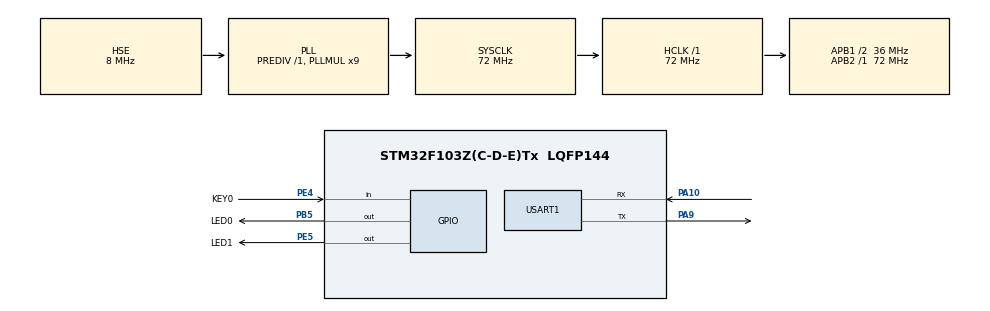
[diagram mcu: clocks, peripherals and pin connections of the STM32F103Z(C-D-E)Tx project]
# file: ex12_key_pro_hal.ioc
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Mcu.Family=STM32F1
Mcu.Name=STM32F103Z(C-D-E)Tx
Mcu.Package=LQFP144
NVIC.PriorityGroup=NVIC_PRIORITYGROUP_4
OSC_IN.Mode=HSE-External-Oscillator
OSC_IN.Signal=RCC_OSC_IN
OSC_OUT.Mode=HSE-External-Oscillator
OSC_OUT.Signal=RCC_OSC_OUT
PA10.Mode=Asynchronous
PA10.Signal=USART1_RX
PA13.Mode=Serial_Wire
PA13.Signal=SYS_JTMS-SWDIO
PA14.Mode=Serial_Wire
PA14.Signal=SYS_JTCK-SWCLK
PA9.Mode=Asynchronous
PA9.Signal=USART1_TX
PB5.GPIO_Label=LED0
PB5.GPIO_Speed=GPIO_SPEED_FREQ_HIGH
PB5.PinState=GPIO_PIN_SET
PB5.Signal=GPIO_Output
PC14-OSC32_IN.Mode=LSE-External-Oscillator
PC14-OSC32_IN.Signal=RCC_OSC32_IN
PC15-OSC32_OUT.Mode=LSE-External-Oscillator
PC15-OSC32_OUT.Signal=RCC_OSC32_OUT
PE4.GPIO_Label=KEY0
PE4.GPIO_PuPd=GPIO_PULLUP
PE4.Signal=GPIO_Input
PE5.GPIO_Label=LED1
PE5.GPIO_Speed=GPIO_SPEED_FREQ_HIGH
PE5.PinState=GPIO_PIN_SET
PE5.Signal=GPIO_Output
ProjectManager.HeapSize=0x200
ProjectManager.StackSize=0x400
ProjectManager.TargetToolchain=MDK-ARM V5.32
RCC.AHBFreq_Value=72000000
RCC.APB1CLKDivider=RCC_HCLK_DIV2
RCC.APB1Freq_Value=36000000
RCC.APB1TimFreq_Value=72000000
RCC.APB2Freq_Value=72000000
RCC.APB2TimFreq_Value=72000000
RCC.HCLKFreq_Value=72000000
RCC.PLLMUL=RCC_PLL_MUL9
RCC.PLLSourceVirtual=RCC_PLLSOURCE_HSE
RCC.SYSCLKFreq_VALUE=72000000
RCC.SYSCLKSource=RCC_SYSCLKSOURCE_PLLCLK
RCC.USBFreq_Value=72000000
USART1.VirtualMode=VM_ASYNC
board=custom

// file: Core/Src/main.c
/* USER CODE BEGIN Header */
/**
  ******************************************************************************
  * @file           : main.c
  * @brief          : Main program body
  ******************************************************************************
  * @attention
  *
  * Copyright (c) 2026 STMicroelectronics.
  * All rights reserved.
  *
  * This software is licensed under terms that can be found in the LICENSE file
  * in the root directory of this software component.
  * If no LICENSE file comes with this software, it is provided AS-IS.
  *
  ******************************************************************************
  */
/* USER CODE END Header */
#include "main.h"
#include "usart.h"
#include "gpio.h"

void SystemClock_Config(void);

/* USER CODE BEGIN 0 */
typedef enum
{
  S_IDLE=0,
  S_DOWN,
  S_LONG,

}KeySatatuse;
KeySatatuse Keystatus=S_IDLE;
//消抖
uint8_t Key_stable=1;//按键状态
uint8_t Key_last=1;//上次电平
uint32_t Key_time=0;//按键消抖时间戳
uint32_t Key_down_time=0;//按键长计时时间戳
void Key_Task(void);

/* USER CODE END 0 */

int main(void)
{

  /* MCU Configuration--------------------------------------------------------*/

  /* Reset of all peripherals, Initializes the Flash interface and the Systick. */
  HAL_Init();

  /* Configure the system clock */
  SystemClock_Config();

  /* Initialize all configured peripherals */
  MX_GPIO_Init();
  MX_USART1_UART_Init();

  /* Infinite loop */
  while (1)
  {

  }
}

void SystemClock_Config(void)
{
  RCC_OscInitTypeDef RCC_OscInitStruct = {0};
  RCC_ClkInitTypeDef RCC_ClkInitStruct = {0};

  /** Initializes the RCC Oscillators according to the specified parameters
  * in the RCC_OscInitTypeDef structure.
  */
  RCC_OscInitStruct.OscillatorType = RCC_OSCILLATORTYPE_HSE;
  RCC_OscInitStruct.HSEState = RCC_HSE_ON;
  RCC_OscInitStruct.HSEPredivValue = RCC_HSE_PREDIV_DIV1;
  RCC_OscInitStruct.HSIState = RCC_HSI_ON;
  RCC_OscInitStruct.PLL.PLLState = RCC_PLL_ON;
  RCC_OscInitStruct.PLL.PLLSource = RCC_PLLSOURCE_HSE;
  RCC_OscInitStruct.PLL.PLLMUL = RCC_PLL_MUL9;
  if (HAL_RCC_OscConfig(&RCC_OscInitStruct) != HAL_OK)
  {
    Error_Handler();
  }

  /** Initializes the CPU, AHB and APB buses clocks
  */
  RCC_ClkInitStruct.ClockType = RCC_CLOCKTYPE_HCLK|RCC_CLOCKTYPE_SYSCLK
                              |RCC_CLOCKTYPE_PCLK1|RCC_CLOCKTYPE_PCLK2;
  RCC_ClkInitStruct.SYSCLKSource = RCC_SYSCLKSOURCE_PLLCLK;
  RCC_ClkInitStruct.AHBCLKDivider = RCC_SYSCLK_DIV1;
  RCC_ClkInitStruct.APB1CLKDivider = RCC_HCLK_DIV2;
  RCC_ClkInitStruct.APB2CLKDivider = RCC_HCLK_DIV1;

  if (HAL_RCC_ClockConfig(&RCC_ClkInitStruct, FLASH_LATENCY_2) != HAL_OK)
  {
    Error_Handler();
  }

}

/* USER CODE BEGIN 4 */
void Key_Task(void)
{
  //1.消抖
  uint8_t Key_now=HAL_GPIO_ReadPin(GPIOE,GPIO_PIN_4);//PE4
  if(Key_now!=Key_last)
  {
    Key_last=Key_now;
    Key_time=HAL_GetTick();
  }
  if((HAL_GetTick()-Key_time)>10)//10ms消抖
  {
    Key_stable=Key_now;
  }
  //2.按键状态机
  switch (Keystatus)
  {
  case S_IDLE:
    if(Key_stable==0)//按下
    {
      Keystatus=S_DOWN;
      Key_down_time=HAL_GetTick();
    }
    break;
    case S_DOWN:
    if(Key_stable==1)//松开
    {
      Keystatus=S_IDLE;
      HAL_GPIO_TogglePin(GPIOB,GPIO_PIN_5);//LED0翻转
      printf("短按\r\n");
      //短按事件
    }
    else if((HAL_GetTick()-Key_down_time)>2000)//长按
    {
      Keystatus=S_LONG;
      HAL_GPIO_TogglePin(GPIOE,GPIO_PIN_5);//LED1翻转
      printf("长按\r\n");
      //长按事件
    }
    break;
    case S_LONG:
    if(Key_stable==1)//松开
    {
      Keystatus=S_IDLE;
    }
    break;
  }
}
/* USER CODE END 4 */

void Error_Handler(void)
{
  __disable_irq();
  while (1)
  {
  }
}
